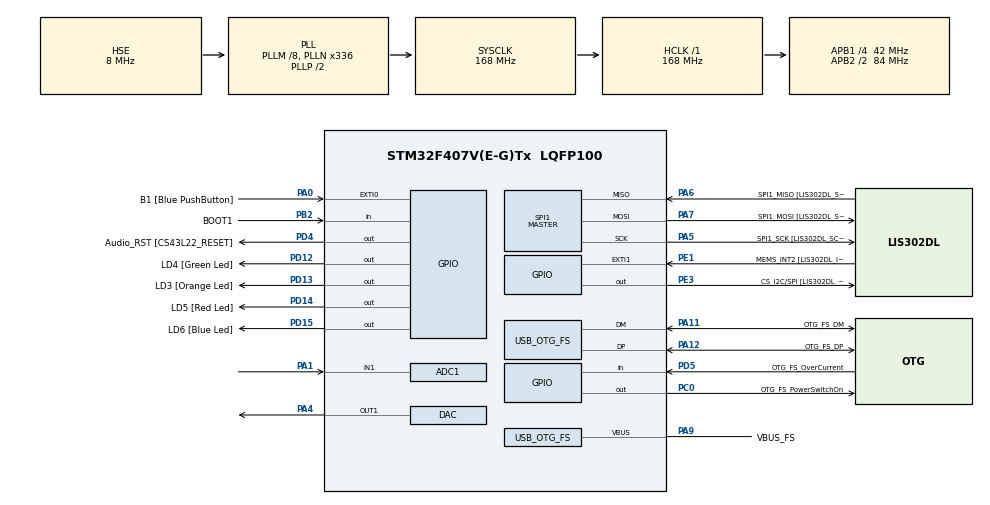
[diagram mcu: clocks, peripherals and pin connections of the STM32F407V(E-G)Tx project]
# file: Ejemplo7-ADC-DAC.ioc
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ADC1.Channel-1\#ChannelRegularConversion=ADC_CHANNEL_1
ADC1.ClockPrescaler=ADC_CLOCK_SYNC_PCLK_DIV4
ADC1.NbrOfConversionFlag=1
ADC1.Rank-1\#ChannelRegularConversion=1
ADC1.SamplingTime-1\#ChannelRegularConversion=ADC_SAMPLETIME_3CYCLES
ADC1.master=1
Mcu.Family=STM32F4
Mcu.Name=STM32F407V(E-G)Tx
Mcu.Package=LQFP100
NVIC.OTG_FS_IRQn=true\:0\:0\:false\:false\:true\:true\:true
NVIC.PriorityGroup=NVIC_PRIORITYGROUP_0
PA0-WKUP.GPIO_Label=B1 [Blue PushButton]
PA0-WKUP.GPIO_ModeDefaultEXTI=GPIO_MODE_EVT_RISING
PA0-WKUP.GPIO_PuPd=GPIO_NOPULL
PA0-WKUP.Signal=GPXTI0
PA1.Signal=ADCx_IN1
PA10.GPIO_Label=OTG_FS_ID
PA10.GPIO_Mode=GPIO_MODE_AF_PP
PA10.GPIO_PuPd=GPIO_NOPULL
PA10.GPIO_Speed=GPIO_SPEED_FREQ_LOW
PA10.Signal=USB_OTG_FS_ID
PA11.GPIO_Label=OTG_FS_DM
PA11.GPIO_Mode=GPIO_MODE_AF_PP
PA11.GPIO_PuPd=GPIO_NOPULL
PA11.GPIO_Speed=GPIO_SPEED_FREQ_LOW
PA11.Mode=Device_Only
PA11.Signal=USB_OTG_FS_DM
PA12.GPIO_Label=OTG_FS_DP
PA12.GPIO_Mode=GPIO_MODE_AF_PP
PA12.GPIO_PuPd=GPIO_NOPULL
PA12.GPIO_Speed=GPIO_SPEED_FREQ_LOW
PA12.Mode=Device_Only
PA12.Signal=USB_OTG_FS_DP
PA13.GPIO_Label=SWDIO
PA13.Mode=Serial_Wire
PA13.Signal=SYS_JTMS-SWDIO
PA14.GPIO_Label=SWCLK
PA14.Mode=Serial_Wire
PA14.Signal=SYS_JTCK-SWCLK
PA4.Signal=COMP_DAC1_group
PA5.GPIO_Label=SPI1_SCK [LIS302DL_SCL/SPC]
PA5.GPIO_Mode=GPIO_MODE_AF_PP
PA5.GPIO_PuPd=GPIO_NOPULL
PA5.GPIO_Speed=GPIO_SPEED_FREQ_LOW
PA5.Mode=Full_Duplex_Master
PA5.Signal=SPI1_SCK
PA6.GPIO_Label=SPI1_MISO [LIS302DL_SDO]
PA6.GPIO_Mode=GPIO_MODE_AF_PP
PA6.GPIO_PuPd=GPIO_NOPULL
PA6.GPIO_Speed=GPIO_SPEED_FREQ_LOW
PA6.Mode=Full_Duplex_Master
PA6.Signal=SPI1_MISO
PA7.GPIO_Label=SPI1_MOSI [LIS302DL_SDA/SDI/SDO]
PA7.GPIO_Mode=GPIO_MODE_AF_PP
PA7.GPIO_PuPd=GPIO_NOPULL
PA7.GPIO_Speed=GPIO_SPEED_FREQ_LOW
PA7.Mode=Full_Duplex_Master
PA7.Signal=SPI1_MOSI
PA9.GPIO_Label=VBUS_FS
PA9.GPIO_Mode=GPIO_MODE_INPUT
PA9.GPIO_PuPd=GPIO_NOPULL
PA9.Mode=Activate_VBUS
PA9.Signal=USB_OTG_FS_VBUS
PB10.GPIO_Label=CLK_IN [MP45DT02_CLK]
PB10.GPIO_Mode=GPIO_MODE_AF_PP
PB10.GPIO_PuPd=GPIO_NOPULL
PB10.GPIO_Speed=GPIO_SPEED_FREQ_LOW
PB10.Signal=I2S2_CK
PB2.GPIO_Label=BOOT1
PB2.GPIO_Mode=GPIO_MODE_INPUT
PB2.GPIO_PuPd=GPIO_NOPULL
PB2.Signal=GPIO_Input
PB3.GPIO_Label=SWO
PB3.Signal=SYS_JTDO-SWO
PB6.GPIO_Label=Audio_SCL [CS43L22_SCL]
PB6.GPIO_Mode=GPIO_MODE_AF_OD
PB6.GPIO_Pu=GPIO_PULLUP
PB6.GPIO_PuPd=GPIO_NOPULL
PB6.GPIO_Speed=GPIO_SPEED_FREQ_LOW
PB6.Signal=I2C1_SCL
PB9.GPIO_Label=Audio_SDA [CS43L22_SDA]
PB9.GPIO_Mode=GPIO_MODE_AF_OD
PB9.GPIO_Pu=GPIO_PULLUP
PB9.GPIO_PuPd=GPIO_NOPULL
PB9.GPIO_Speed=GPIO_SPEED_FREQ_LOW
PB9.Signal=I2C1_SDA
PC0.GPIO_Label=OTG_FS_PowerSwitchOn
PC0.GPIO_PuPd=GPIO_NOPULL
PC0.GPIO_Speed=GPIO_SPEED_FREQ_LOW
PC0.PinState=GPIO_PIN_SET
PC0.Signal=GPIO_Output
PC10.GPIO_Label=I2S3_SCK [CS43L22_SCLK]
PC10.GPIO_Mode=GPIO_MODE_AF_PP
PC10.GPIO_PuPd=GPIO_NOPULL
PC10.GPIO_Speed=GPIO_SPEED_FREQ_LOW
PC10.Signal=I2S3_CK
PC12.GPIO_Label=I2S3_SD [CS43L22_SDIN]
PC12.GPIO_Mode=GPIO_MODE_AF_PP
PC12.GPIO_PuPd=GPIO_NOPULL
PC12.GPIO_Speed=GPIO_SPEED_FREQ_LOW
PC12.Signal=I2S3_SD
PC14-OSC32_IN.GPIO_Label=PC14-OSC32_IN
PC14-OSC32_IN.Mode=LSE-External-Oscillator
PC14-OSC32_IN.Signal=RCC_OSC32_IN
PC15-OSC32_OUT.GPIO_Label=PC15-OSC32_OUT
PC15-OSC32_OUT.Mode=LSE-External-Oscillator
PC15-OSC32_OUT.Signal=RCC_OSC32_OUT
PC3.GPIO_Label=PDM_OUT [MP45DT02_DOUT]
PC3.GPIO_Mode=GPIO_MODE_AF_PP
PC3.GPIO_PuPd=GPIO_NOPULL
PC3.GPIO_Speed=GPIO_SPEED_FREQ_LOW
PC3.Signal=I2S2_SD
PC7.GPIO_Label=I2S3_MCK [CS43L22_MCLK]
PC7.GPIO_Mode=GPIO_MODE_AF_PP
PC7.GPIO_PuPd=GPIO_NOPULL
PC7.GPIO_Speed=GPIO_SPEED_FREQ_LOW
PC7.Signal=I2S3_MCK
PD12.GPIO_Label=LD4 [Green Led]
PD12.GPIO_PuPd=GPIO_NOPULL
PD12.GPIO_Speed=GPIO_SPEED_FREQ_LOW
PD12.Signal=GPIO_Output
PD13.GPIO_Label=LD3 [Orange Led]
PD13.GPIO_PuPd=GPIO_NOPULL
PD13.GPIO_Speed=GPIO_SPEED_FREQ_LOW
PD13.Signal=GPIO_Output
PD14.GPIO_Label=LD5 [Red Led]
PD14.GPIO_PuPd=GPIO_NOPULL
PD14.GPIO_Speed=GPIO_SPEED_FREQ_LOW
PD14.Signal=GPIO_Output
PD15.GPIO_Label=LD6 [Blue Led]
PD15.GPIO_PuPd=GPIO_NOPULL
PD15.GPIO_Speed=GPIO_SPEED_FREQ_LOW
PD15.Signal=GPIO_Output
PD4.GPIO_Label=Audio_RST [CS43L22_RESET]
PD4.GPIO_PuPd=GPIO_NOPULL
PD4.GPIO_Speed=GPIO_SPEED_FREQ_LOW
PD4.Signal=GPIO_Output
PD5.GPIO_Label=OTG_FS_OverCurrent
PD5.GPIO_Mode=GPIO_MODE_INPUT
PD5.GPIO_PuPd=GPIO_NOPULL
PD5.Signal=GPIO_Input
PE1.GPIO_Label=MEMS_INT2 [LIS302DL_INT2]
PE1.GPIO_ModeDefaultEXTI=GPIO_MODE_EVT_RISING
PE1.GPIO_PuPd=GPIO_NOPULL
PE1.Signal=GPXTI1
PE3.GPIO_Label=CS_I2C/SPI [LIS302DL_CS_I2C/SPI]
PE3.GPIO_PuPd=GPIO_NOPULL
PE3.GPIO_Speed=GPIO_SPEED_FREQ_LOW
PE3.Signal=GPIO_Output
PH0-OSC_IN.GPIO_Label=PH0-OSC_IN
PH0-OSC_IN.Mode=HSE-External-Oscillator
PH0-OSC_IN.Signal=RCC_OSC_IN
PH1-OSC_OUT.GPIO_Label=PH1-OSC_OUT
PH1-OSC_OUT.Mode=HSE-External-Oscillator
PH1-OSC_OUT.Signal=RCC_OSC_OUT
ProjectManager.HeapSize=0x200
ProjectManager.StackSize=0x400
ProjectManager.TargetToolchain=STM32CubeIDE
RCC.48MHZClocksFreq_Value=48000000
RCC.AHBFreq_Value=168000000
RCC.APB1CLKDivider=RCC_HCLK_DIV4
RCC.APB1Freq_Value=42000000
RCC.APB1TimFreq_Value=84000000
RCC.APB2CLKDivider=RCC_HCLK_DIV2
RCC.APB2Freq_Value=84000000
RCC.APB2TimFreq_Value=168000000
RCC.CortexFreq_Value=168000000
RCC.HCLKFreq_Value=168000000
RCC.HSE_VALUE=8000000
RCC.HSI_VALUE=16000000
RCC.PLLM=8
RCC.PLLN=336
RCC.PLLQ=7
RCC.SYSCLKFreq_VALUE=168000000
RCC.SYSCLKSource=RCC_SYSCLKSOURCE_PLLCLK
RCC.VCOOutputFreq_Value=336000000
SH.ADCx_IN1.0=ADC1_IN1,IN1
SH.COMP_DAC1_group.0=DAC_OUT1,DAC_OUT1
SPI1.BaudRatePrescaler-Full_Duplex_Master=SPI_BAUDRATEPRESCALER_2
SPI1.CalculateBaudRate-Full_Duplex_Master=42.0 MBits/s
SPI1.Direction=SPI_DIRECTION_2LINES
SPI1.Mode=SPI_MODE_MASTER
SPI1.Mode-Full_Duplex_Master=SPI_MODE_MASTER
SPI1.VirtualType=VM_MASTER
USB_DEVICE.CLASS_NAME_FS=CDC
USB_DEVICE.VirtualMode-CDC_FS=Cdc
USB_DEVICE.VirtualModeFS=Cdc_FS
USB_OTG_FS.VirtualMode=Device_Only
VP_USB_DEVICE_VS_USB_DEVICE_CDC_FS.Mode=CDC_FS
board=STM32F407G-DISC1

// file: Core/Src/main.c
/* USER CODE BEGIN Header */
/**
  ******************************************************************************
  * @file           : main.c
  * @brief          : Main program body
  ******************************************************************************
  * @attention
  *
  * Copyright (c) 2022 STMicroelectronics.
  * All rights reserved.
  *
  * This software is licensed under terms that can be found in the LICENSE file
  * in the root directory of this software component.
  * If no LICENSE file comes with this software, it is provided AS-IS.
  *
  ******************************************************************************
  */
/* USER CODE END Header */
#include "main.h"
#include "adc.h"
#include "dac.h"
#include "spi.h"
#include "usb_device.h"
#include "gpio.h"

/* USER CODE BEGIN Includes */
#include "usbd_cdc_if.h"
/* USER CODE END Includes */

void SystemClock_Config(void);

int main(void)
{

  /* MCU Configuration--------------------------------------------------------*/

  /* Reset of all peripherals, Initializes the Flash interface and the Systick. */
  HAL_Init();

  /* Configure the system clock */
  SystemClock_Config();

  /* Initialize all configured peripherals */
  MX_GPIO_Init();
  MX_SPI1_Init();
  MX_ADC1_Init();
  MX_DAC_Init();
  MX_USB_DEVICE_Init();
  /* USER CODE BEGIN 2 */
  uint8_t data[10] = "";
  float outDACVolt = 2.0, adcValVolt;
  uint16_t outDACByte, adcValByte;
  outDACByte = (uint16_t) ((outDACVolt/3.0)*4095);

  HAL_DAC_Start(&hdac, DAC_CHANNEL_1);
  HAL_DAC_SetValue (&hdac, DAC_CHANNEL_1, DAC_ALIGN_12B_R, outDACByte );
  /* USER CODE END 2 */

  /* Infinite loop */
  while (1)
  {

    /* USER CODE BEGIN 3 */
	  HAL_ADC_Start(&hadc1);
	  if(HAL_ADC_PollForConversion(&hadc1, 10) == HAL_OK)
	  {
		  adcValByte = HAL_ADC_GetValue(&hadc1);
	  }
	  HAL_ADC_Stop(&hadc1);

	  adcValVolt = (float) ((adcValByte*3.0)/4095);
	  sprintf(data, "%.2f V\n", adcValVolt);
	  CDC_Transmit_FS(data, strlen(data));

	  HAL_Delay (1000);
  }
  /* USER CODE END 3 */
}

void SystemClock_Config(void)
{
  RCC_OscInitTypeDef RCC_OscInitStruct = {0};
  RCC_ClkInitTypeDef RCC_ClkInitStruct = {0};

  /** Configure the main internal regulator output voltage
  */
  __HAL_RCC_PWR_CLK_ENABLE();
  __HAL_PWR_VOLTAGESCALING_CONFIG(PWR_REGULATOR_VOLTAGE_SCALE1);
  /** Initializes the RCC Oscillators according to the specified parameters
  * in the RCC_OscInitTypeDef structure.
  */
  RCC_OscInitStruct.OscillatorType = RCC_OSCILLATORTYPE_HSE;
  RCC_OscInitStruct.HSEState = RCC_HSE_ON;
  RCC_OscInitStruct.PLL.PLLState = RCC_PLL_ON;
  RCC_OscInitStruct.PLL.PLLSource = RCC_PLLSOURCE_HSE;
  RCC_OscInitStruct.PLL.PLLM = 8;
  RCC_OscInitStruct.PLL.PLLN = 336;
  RCC_OscInitStruct.PLL.PLLP = RCC_PLLP_DIV2;
  RCC_OscInitStruct.PLL.PLLQ = 7;
  if (HAL_RCC_OscConfig(&RCC_OscInitStruct) != HAL_OK)
  {
    Error_Handler();
  }
  /** Initializes the CPU, AHB and APB buses clocks
  */
  RCC_ClkInitStruct.ClockType = RCC_CLOCKTYPE_HCLK|RCC_CLOCKTYPE_SYSCLK
                              |RCC_CLOCKTYPE_PCLK1|RCC_CLOCKTYPE_PCLK2;
  RCC_ClkInitStruct.SYSCLKSource = RCC_SYSCLKSOURCE_PLLCLK;
  RCC_ClkInitStruct.AHBCLKDivider = RCC_SYSCLK_DIV1;
  RCC_ClkInitStruct.APB1CLKDivider = RCC_HCLK_DIV4;
  RCC_ClkInitStruct.APB2CLKDivider = RCC_HCLK_DIV2;

  if (HAL_RCC_ClockConfig(&RCC_ClkInitStruct, FLASH_LATENCY_5) != HAL_OK)
  {
    Error_Handler();
  }
}

void Error_Handler(void)
{
  __disable_irq();
  while (1)
  {
  }
}
